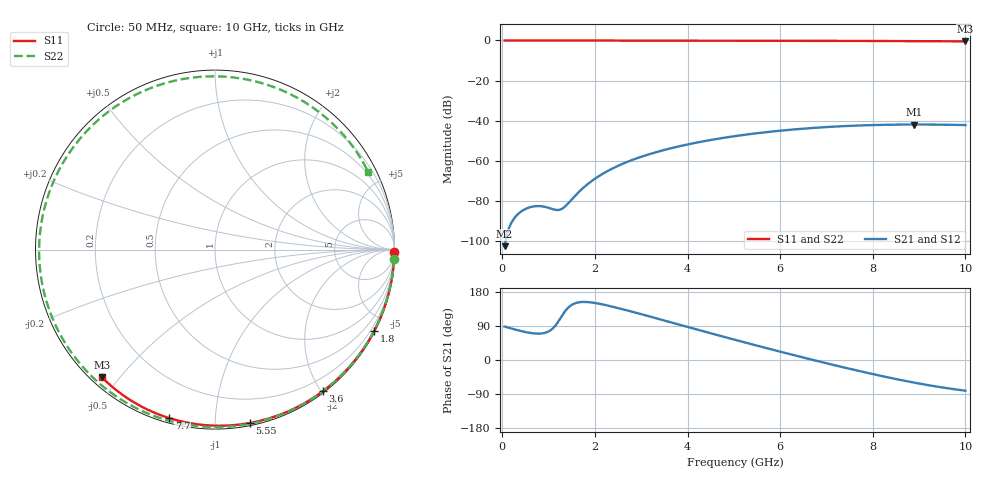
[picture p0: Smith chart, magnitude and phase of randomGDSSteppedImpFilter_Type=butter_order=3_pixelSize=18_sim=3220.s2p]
! freq	dB(S11)	phase(S11)	dB(S12)	phase(S12)
!  dB(S21)	phase(S21)	dB(S22)	phase(S22)
!S-par simulation data
#  GHz  S  DB  R 50
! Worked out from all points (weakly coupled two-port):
!   200 points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, 50 MHz to 10 GHz, reference 50 ohm
!   highest |S21| = -41.86 dB at 8.9 GHz (marker M1); lowest = -102.4 dB at 50 MHz (marker M2)
!   lowest |S11| = -0.4 dB at 10 GHz (marker M3), VSWR 39.09, Z = 1.54 - j22.5 ohm
!   |S11| at or under -10 dB: nowhere
!   |S22| runs from -0.4 to 0.0 dB; largest |S21 - S12| = 0
!   S11 on the Smith chart (normalised r, x): 50 MHz: open; 1.8 GHz: 0.04, -4.17; 3.6 GHz: 0.02, -2.02; 5.55 GHz: 0.02, -1.22; 7.7 GHz: 0.02, -0.77; 10 GHz: 0.03, -0.45
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0.05  -0.00 -0.8  -102.45 88.2  -102.45 88.2  -0.00 -2.9
0.4  -0.01 -6.1  -85.30 76.5  -85.30 76.5  -0.03 -22.8
0.8  -0.02 -12.1  -82.49 69.6  -82.49 69.6  -0.06 -44.7
1.1  -0.02 -16.6  -84.08 84.4  -84.08 84.4  -0.07 -60.3
1.45  -0.03 -21.8  -80.44 141.2  -80.44 141.2  -0.09 -77.3
1.75  -0.03 -26.2  -73.35 153.3  -73.35 153.3  -0.10 -90.8
1.8  -0.03 -27.0  -72.36 153.2  -72.36 153.2  -0.10 -93.0
2.1  -0.04 -31.3  -67.36 148.4  -67.36 148.4  -0.11 -105.4
2.5  -0.05 -37.1  -62.43 137.0  -62.43 137.0  -0.12 -120.7
2.95  -0.06 -43.6  -58.31 122.7  -58.31 122.7  -0.13 -136.4
3.4  -0.07 -49.9  -55.14 107.5  -55.14 107.5  -0.14 -150.9
3.6  -0.07 -52.7  -53.93 100.8  -53.93 100.8  -0.15 -157.0
4.3  -0.09 -62.3  -50.40 77.2  -50.40 77.2  -0.17 -177.1
5.05  -0.11 -72.3  -47.55 52.4  -47.55 52.4  -0.20 162.7
5.55  -0.13 -78.7  -46.06 36.3  -46.06 36.3  -0.22 149.5
6.7  -0.18 -93.1  -43.58 0.4  -43.58 0.4  -0.26 119.5
7.2  -0.21 -99.2  -42.87 -14.5  -42.87 -14.5  -0.28 106.1
7.7  -0.24 -105.1  -42.35 -28.9  -42.35 -28.9  -0.30 92.6
8.35  -0.29 -112.7  -41.96 -46.4  -41.96 -46.4  -0.32 74.5
8.9  -0.33 -119.1  -41.86 -59.8  -41.86 -59.8  -0.34 58.8
9.5  -0.39 -125.9  -41.95 -72.5  -41.95 -72.5  -0.36 41.4
10  -0.44 -131.6  -42.12 -81.0  -42.12 -81.0  -0.38 26.7
